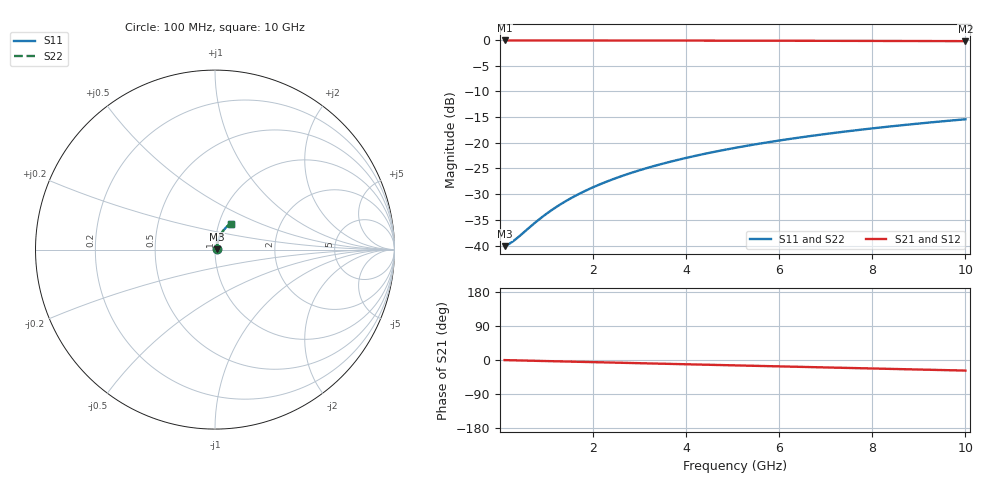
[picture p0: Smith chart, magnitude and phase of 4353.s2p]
# Hz S RI R 50.00
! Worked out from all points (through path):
!   100 points, 100 MHz to 10 GHz, reference 50 ohm
!   highest |S21| = -0.08 dB at 100 MHz (marker M1); lowest = -0.2 dB at 10 GHz (marker M2)
!   group delay of S21, straight-line fit = 7.76 ps
!   lowest |S11| = -40.1 dB at 100 MHz (marker M3), VSWR 1.02, Z = 51 + j0.176 ohm
!   |S11| at or under -10 dB: start of sweep to end of sweep
!   |S22| runs from -40.1 to -15.4 dB; largest |S21 - S12| = 0
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1e8  0.0097 0.00173  0.9903 -0.00486  0.9903 -0.00486  0.0097 0.00173
2e8  0.00979 0.00346  0.9902 -0.00973  0.9902 -0.00973  0.00979 0.00346
3e8  0.00988 0.00519  0.9901 -0.0146  0.9901 -0.0146  0.00988 0.00519
8e8  0.0105 0.0138  0.9892 -0.0389  0.9892 -0.0389  0.0105 0.0138
9e8  0.0107 0.0155  0.9889 -0.0437  0.9889 -0.0437  0.0107 0.0155
1.1e9  0.011 0.019  0.9883 -0.0534  0.9883 -0.0534  0.011 0.019
1.4e9  0.0117 0.0241  0.9873 -0.068  0.9873 -0.068  0.0117 0.0241
1.6e9  0.0123 0.0275  0.9864 -0.0777  0.9864 -0.0777  0.0123 0.0275
1.8e9  0.0129 0.0309  0.9855 -0.0873  0.9855 -0.0873  0.0129 0.0309
2.1e9  0.0139 0.036  0.9839 -0.1018  0.9839 -0.1018  0.0139 0.036
2.5e9  0.0155 0.0427  0.9814 -0.121  0.9814 -0.121  0.0155 0.0427
2.9e9  0.0173 0.0493  0.9784 -0.1402  0.9784 -0.1402  0.0173 0.0493
3.4e9  0.02 0.0575  0.9742 -0.164  0.9742 -0.164  0.02 0.0575
3.8e9  0.0224 0.064  0.9703 -0.183  0.9703 -0.183  0.0224 0.064
4.2e9  0.0251 0.0703  0.966 -0.2018  0.966 -0.2018  0.0251 0.0703
4.6e9  0.028 0.0765  0.9614 -0.2205  0.9614 -0.2205  0.028 0.0765
5.1e9  0.032 0.0841  0.9549 -0.2438  0.9549 -0.2438  0.032 0.0841
5.9e9  0.0391 0.0958  0.9434 -0.2804  0.9434 -0.2804  0.0391 0.0958
6.7e9  0.0471 0.1069  0.9304 -0.3164  0.9304 -0.3164  0.0471 0.1069
7.5e9  0.0559 0.1173  0.9159 -0.3516  0.9159 -0.3516  0.0559 0.1173
8.4e9  0.0667 0.128  0.8979 -0.3903  0.8979 -0.3903  0.0667 0.128
1e10  0.088 0.1447  0.8617 -0.4563  0.8617 -0.4563  0.088 0.1447
